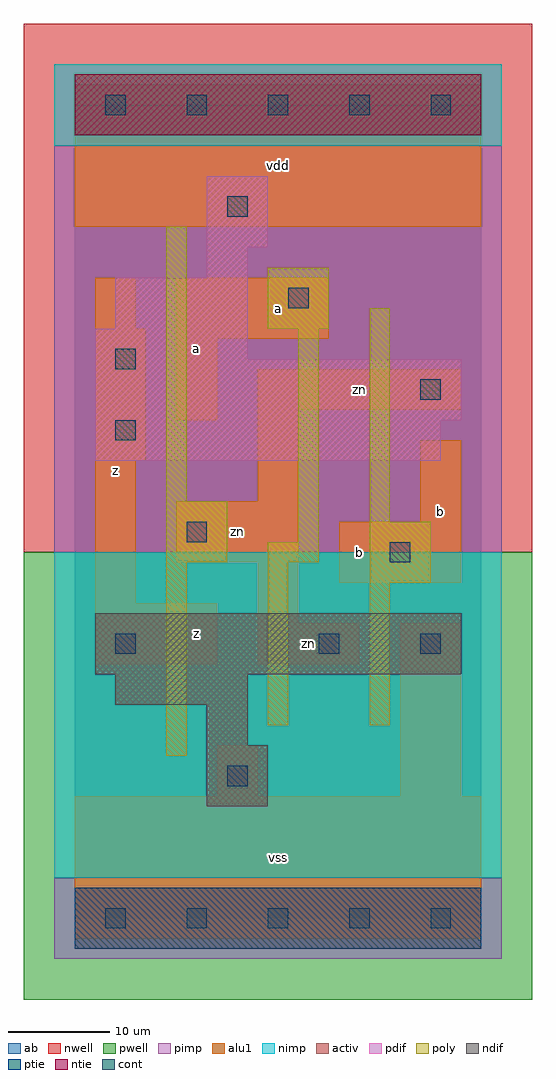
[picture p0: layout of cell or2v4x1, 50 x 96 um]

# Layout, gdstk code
import gdstk
lib = gdstk.Library(unit=1e-6, precision=1e-09)
def R(c, l, rs):  # rectangles x0, y0, x1, y1
    for r in rs: c.add(gdstk.rectangle(r[:2], r[2:], *l))
def A(c, l, x, y, w, h, nx, ny, dx, dy):  # array of equal rectangles
    R(c, l, [(x+i*dx, y+j*dy, x+i*dx+w, y+j*dy+h) for i in range(nx) for j in range(ny)])
ndif = (3, 0)
pdif = (4, 0)
ntie = (5, 0)
ptie = (6, 0)
cont = (25, 0)
pwell = (41, 0)
nwell = (42, 0)
activ = (43, 0)
pimp = (44, 0)
nimp = (45, 0)
poly = (46, 0)
alu1 = (49, 0)
ab = (63, 0)

or2v4x1 = lib.new_cell('or2v4x1')
R(or2v4x1, ndif, [(13,11,19,17), (13,17,17,21), (4,21,17,24), (2,24,38,30)])
R(or2v4x1, pdif, [(2,45,36,49), (2,49,38,55), (2,55,17,58), (4,58,17,63), (13,63,17,66), (13,66,19,73)])
R(or2v4x1, ntie, [(0,77,40,83)])
R(or2v4x1, ptie, [(0,-3,40,3)])
A(or2v4x1, cont, 3, -1, 2, 2, 5, 2, 8, 80)
R(or2v4x1, cont, [(15,13,17,15), (4,26,6,28), (24,26,26,28), (34,26,36,28), (31,35,33,37), (11,37,13,39), (4,47,6,49), (34,51,36,53), (4,54,6,56), (21,60,23,62), (15,69,17,71)])
R(or2v4x1, pwell, [(-5,-8,45,36)])
R(or2v4x1, nwell, [(-5,36,45,88)])
R(or2v4x1, activ, [(0,-3,40,3), (13,11,19,17), (13,17,17,21), (4,21,17,24), (2,24,38,30), (2,45,36,49), (2,49,38,55), (2,55,17,58), (4,58,17,63), (13,63,17,66), (13,66,19,73), (0,77,40,83)])
R(or2v4x1, pimp, [(-2,-4,42,4), (-2,36,42,76)])
R(or2v4x1, nimp, [(-2,4,42,36), (-2,76,42,84)])
R(or2v4x1, poly, [(9,16,11,35), (19,19,21,35), (29,19,31,33), (29,33,35,39), (9,35,15,41), (19,35,24,37), (22,37,24,58), (29,39,31,60), (9,41,11,68), (19,58,25,64)])
R(or2v4x1, alu1, [(0,-2,40,12), (14,12,18,17), (32,12,38,29), (2,25,14,31), (18,25,28,29), (18,29,22,35), (2,31,6,45), (26,33,38,39), (10,35,22,41), (34,39,38,47), (18,41,22,50), (2,45,7,58), (10,49,14,57), (18,50,38,54), (10,57,25,63), (2,58,6,63), (0,68,40,82)])
R(or2v4x1, ab, [(0,0,40,80)])
or2v4x1.add(gdstk.Label('zn', (23,27), layer=49, texttype=0))
or2v4x1.add(gdstk.Label('zn', (16,38), layer=49, texttype=0))
or2v4x1.add(gdstk.Label('zn', (28,52), layer=49, texttype=0))
or2v4x1.add(gdstk.Label('z', (4,44), layer=49, texttype=0))
or2v4x1.add(gdstk.Label('z', (12,28), layer=49, texttype=0))
or2v4x1.add(gdstk.Label('a', (12,56), layer=49, texttype=0))
or2v4x1.add(gdstk.Label('vss', (20,6), layer=49, texttype=0))
or2v4x1.add(gdstk.Label('b', (28,36), layer=49, texttype=0))
or2v4x1.add(gdstk.Label('a', (20,60), layer=49, texttype=0))
or2v4x1.add(gdstk.Label('vdd', (20,74), layer=49, texttype=0))
or2v4x1.add(gdstk.Label('b', (36,40), layer=49, texttype=0))

lib.write_gds('or2v4x1.gds')
